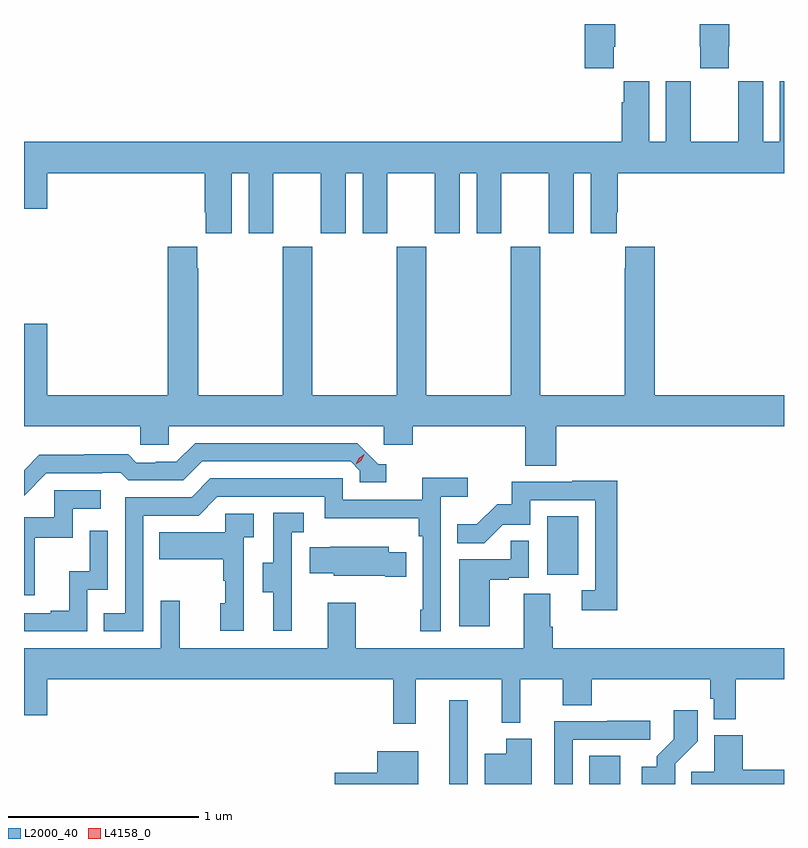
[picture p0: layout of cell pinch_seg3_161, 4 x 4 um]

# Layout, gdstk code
import gdstk
lib = gdstk.Library(unit=1e-6, precision=1e-09)
def R(c, l, rs):  # rectangles x0, y0, x1, y1
    for r in rs: c.add(gdstk.rectangle(r[:2], r[2:], *l))
def P(c, l, *ps):  # polygons
    for p in ps: c.add(gdstk.Polygon(p, *l))
L2000_40 = (2000, 40)
L4158_0 = (4158, 0)

pinch_seg3_161 = lib.new_cell('pinch_seg3_161')
R(pinch_seg3_161, L2000_40, [(1102.352,715.017,1102.449,715.459), (1103.09,715.017,1103.251,715.165), (1102.868,716.118,1103.032,716.425)])
P(pinch_seg3_161, L2000_40, [(1103.823,718.897),(1103.826,718.897),(1103.826,719.017),(1103.671,719.017),(1103.671,718.897),(1103.673,718.897),(1103.673,718.785),(1103.823,718.785)],
  [(1103.219,718.897),(1103.226,718.897),(1103.226,719.017),(1103.066,719.017),(1103.066,718.785),(1103.219,718.785)],
  [(1103.492,718.717),(1103.492,718.396),(1103.404,718.396),(1103.404,718.717),(1103.27,718.717),(1103.27,718.604),(1103.261,718.604),(1103.261,718.396),(1100.114,718.396),(1100.114,718.044),(1100.236,718.044),(1100.236,718.232),(1101.065,718.232),(1101.065,718.027),(1101.071,718.027),(1101.071,717.915),(1101.208,717.915),(1101.208,718.232),(1101.296,718.232),(1101.296,717.915),(1101.427,717.915),(1101.427,718.232),(1101.677,718.232),(1101.677,717.915),(1101.808,717.915),(1101.808,718.232),(1101.896,718.232),(1101.896,717.915),(1102.027,717.915),(1102.027,718.232),(1102.277,718.232),(1102.277,717.915),(1102.408,717.915),(1102.408,718.232),(1102.496,718.232),(1102.496,717.915),(1102.627,717.915),(1102.627,718.232),(1102.877,718.232),(1102.877,717.915),(1103.008,717.915),(1103.008,718.232),(1103.096,718.232),(1103.096,717.915),(1103.233,717.915),(1103.233,718.027),(1103.24,718.027),(1103.24,718.232),(1104.114,718.232),(1104.114,718.717),(1104.092,718.717),(1104.092,718.396),(1104.004,718.396),(1104.004,718.717),(1103.874,718.717),(1103.874,718.604),(1103.873,718.604),(1103.873,718.396),(1103.623,718.396),(1103.623,718.604),(1103.622,718.604),(1103.622,718.717)],
  [(1102.916,716.9),(1104.114,716.9),(1104.114,717.064),(1103.435,717.064),(1103.435,717.844),(1103.279,717.844),(1103.279,717.731),(1103.275,717.731),(1103.275,717.064),(1102.83,717.064),(1102.83,717.844),(1102.675,717.844),(1102.675,717.064),(1102.23,717.064),(1102.23,717.844),(1102.075,717.844),(1102.075,717.064),(1101.63,717.064),(1101.63,717.844),(1101.475,717.844),(1101.475,717.064),(1101.03,717.064),(1101.03,717.731),(1101.025,717.731),(1101.025,717.844),(1100.87,717.844),(1100.87,717.064),(1100.236,717.064),(1100.236,717.439),(1100.114,717.439),(1100.114,716.9),(1100.727,716.9),(1100.727,716.802),(1100.877,716.802),(1100.877,716.9),(1102.008,716.9),(1102.008,716.802),(1102.16,716.802),(1102.16,716.9),(1102.751,716.9),(1102.751,716.692),(1102.916,716.692)],
  [(1100.232,716.652),(1100.525,716.652),(1100.525,716.655),(1100.624,716.655),(1100.663,716.616),(1100.952,716.616),(1101.051,716.715),(1101.834,716.715),(1101.882,716.667),(1101.882,716.604),(1102.021,716.604),(1102.021,716.7),(1101.978,716.7),(1101.867,716.811),(1101.014,716.811),(1100.915,716.712),(1100.808,716.712),(1100.808,716.709),(1100.705,716.709),(1100.663,716.752),(1100.43,716.752),(1100.43,716.749),(1100.194,716.749),(1100.114,716.669),(1100.114,716.534)],
  [(1100.742,716.43),(1101.033,716.43),(1101.132,716.529),(1101.696,716.529),(1101.696,716.417),(1102.192,716.417),(1102.192,716.321),(1102.212,716.321),(1102.212,715.933),(1102.2,715.933),(1102.2,715.821),(1102.308,715.821),(1102.308,716.528),(1102.45,716.528),(1102.45,716.63),(1102.211,716.63),(1102.211,716.514),(1101.792,716.514),(1101.792,716.625),(1101.095,716.625),(1100.996,716.526),(1100.646,716.526),(1100.646,715.917),(1100.533,715.917),(1100.533,715.821),(1100.742,715.821)],
  [(1103.237,716.612),(1102.999,716.612),(1102.999,716.607),(1102.681,716.607),(1102.681,716.49),(1102.604,716.49),(1102.497,716.383),(1102.393,716.383),(1102.393,716.284),(1102.537,716.284),(1102.635,716.382),(1102.779,716.382),(1102.779,716.511),(1103.121,716.511),(1103.121,716.037),(1103.049,716.037),(1103.049,715.932),(1103.237,715.932)],
  [(1100.171,716.313),(1100.37,716.313),(1100.37,716.466),(1100.518,716.466),(1100.518,716.562),(1100.274,716.562),(1100.274,716.421),(1100.114,716.421),(1100.114,716.01),(1100.171,716.01)],
  [(1101.524,716.037),(1101.522,716.037),(1101.522,716.341),(1101.586,716.341),(1101.586,716.444),(1101.426,716.444),(1101.426,716.181),(1101.371,716.181),(1101.371,716.026),(1101.425,716.026),(1101.425,715.824),(1101.524,715.824)],
  [(1101.27,716.315),(1101.322,716.315),(1101.322,716.439),(1101.174,716.439),(1101.174,716.341),(1100.827,716.341),(1100.827,716.201),(1101.162,716.201),(1101.162,716.087),(1101.172,716.087),(1101.172,715.968),(1101.146,715.968),(1101.146,715.824),(1101.27,715.824)],
  [(1100.448,716.04),(1100.556,716.04),(1100.556,716.35),(1100.46,716.35),(1100.46,716.138),(1100.351,716.138),(1100.351,715.93),(1100.255,715.93),(1100.255,715.917),(1100.114,715.917),(1100.114,715.821),(1100.448,715.821)],
  [(1102.564,716.091),(1102.664,716.091),(1102.664,716.103),(1102.77,716.103),(1102.77,716.297),(1102.675,716.297),(1102.675,716.199),(1102.406,716.199),(1102.406,715.848),(1102.564,715.848)],
  [(1102.127,716.236),(1102.033,716.236),(1102.033,716.266),(1101.727,716.266),(1101.727,716.263),(1101.619,716.263),(1101.619,716.126),(1101.744,716.126),(1101.744,716.114),(1102.016,716.114),(1102.016,716.107),(1102.127,716.107)],
  [(1102.898,715.844),(1102.885,715.844),(1102.885,716.018),(1102.745,716.018),(1102.745,715.732),(1101.861,715.732),(1101.861,715.972),(1101.713,715.972),(1101.713,715.732),(1100.933,715.732),(1100.933,715.981),(1100.835,715.981),(1100.835,715.732),(1100.114,715.732),(1100.114,715.38),(1100.236,715.38),(1100.236,715.568),(1102.057,715.568),(1102.057,715.335),(1102.175,715.335),(1102.175,715.568),(1102.628,715.568),(1102.628,715.34),(1102.727,715.34),(1102.727,715.568),(1102.949,715.568),(1102.949,715.432),(1103.102,715.432),(1103.102,715.568),(1103.725,715.568),(1103.725,715.467),(1103.745,715.467),(1103.745,715.358),(1103.861,715.358),(1103.861,715.568),(1104.114,715.568),(1104.114,715.732),(1102.898,715.732)],
  [(1103.541,715.123),(1103.66,715.242),(1103.66,715.405),(1103.535,715.405),(1103.535,715.253),(1103.444,715.163),(1103.444,715.108),(1103.364,715.108),(1103.364,715.017),(1103.541,715.017)],
  [(1103.001,715.251),(1103.41,715.251),(1103.41,715.35),(1103.185,715.35),(1103.185,715.347),(1102.905,715.347),(1102.905,715.017),(1103.001,715.017)],
  [(1104.114,715.092),(1103.897,715.092),(1103.897,715.273),(1103.747,715.273),(1103.747,715.082),(1103.626,715.082),(1103.626,715.017),(1104.114,715.017)],
  [(1102.786,715.255),(1102.652,715.255),(1102.652,715.177),(1102.538,715.177),(1102.538,715.017),(1102.786,715.017)],
  [(1102.189,715.189),(1101.974,715.189),(1101.974,715.076),(1101.75,715.076),(1101.75,715.017),(1102.189,715.017)])
P(pinch_seg3_161, L4158_0, [(1101.86,716.699),(1101.86,716.699),(1101.876,716.732),(1101.906,716.752),(1101.906,716.752),(1101.906,716.752),(1101.89,716.719),(1101.86,716.699)])

lib.write_gds('pinch_seg3_161.gds')
